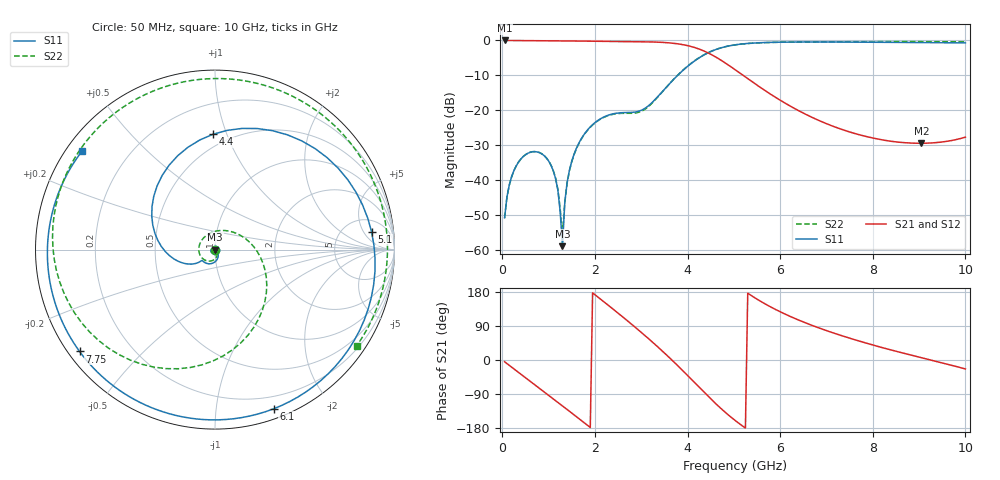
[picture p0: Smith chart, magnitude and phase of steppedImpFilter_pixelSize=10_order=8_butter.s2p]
! freq	dB(S11)	phase(S11)	dB(S12)	phase(S12)
!  dB(S21)	phase(S21)	dB(S22)	phase(S22)
!S-par simulation data
#  GHz  S  DB  R 50
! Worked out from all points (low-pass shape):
!   200 points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, 50 MHz to 10 GHz, reference 50 ohm
!   highest |S21| = -0.01 dB at 50 MHz (marker M1); lowest = -29.5 dB at 9.05 GHz (marker M2)
!   |S21| within 3 dB of the highest: start of sweep to 4.351 GHz
!   lowest |S11| = -58.9 dB at 1.3 GHz (marker M3), VSWR 1.00, Z = 50.1 + j0.0547 ohm
!   |S11| at or under -10 dB: start of sweep to 3.787 GHz
!   |S22| runs from -55.5 to -0.3 dB; largest |S21 - S12| = 0
!   S11 on the Smith chart (normalised r, x): 50 MHz: 1.00, -0.01; 4.4 GHz: 0.41, +0.90; 5.1 GHz: 9, +8; 6.1 GHz: 0.09, -1.43; 7.75 GHz: 0.03, -0.33; 10 GHz: 0.05, +0.33
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0.05  -50.80 -83.5  -0.01 -4.7  -0.01 -4.7  -50.81 -83.8
0.3  -35.96 -115.8  -0.04 -28.0  -0.04 -28.0  -35.97 -117.8
0.8  -32.13 -163.7  -0.09 -74.4  -0.09 -74.4  -32.11 -169.3
1.15  -39.53 161.4  -0.12 -107.0  -0.12 -107.0  -39.40 150.5
1.3  -58.93 28.9  -0.14 -121.1  -0.14 -121.1  -55.54 39.9
1.4  -40.68 -31.6  -0.15 -130.6  -0.15 -130.6  -40.86 -36.7
1.75  -27.24 -66.6  -0.19 -163.7  -0.19 -163.7  -27.35 -80.2
2.2  -21.89 -104.7  -0.26 153.0  -0.26 153.0  -21.99 -130.1
2.7  -20.66 -135.5  -0.33 103.7  -0.33 103.7  -20.88 161.6
3.05  -19.70 -141.1  -0.38 67.8  -0.38 67.8  -19.98 93.5
3.4  -15.48 -151.4  -0.52 29.9  -0.52 29.9  -15.56 26.9
3.85  -9.20 164.9  -1.10 -22.4  -1.10 -22.4  -9.14 -34.3
4.4  -3.84 90.9  -3.30 -90.4  -3.30 -90.4  -3.79 -96.4
4.7  -2.22 51.5  -5.48 -125.6  -5.48 -125.6  -2.20 -127.6
5.05  -1.22 11.6  -8.60 -161.7  -8.60 -161.7  -1.23 -159.9
5.1  -1.13 6.5  -9.07 -166.3  -9.07 -166.3  -1.15 -164.2
6.1  -0.49 -69.8  -17.91 121.5  -17.91 121.5  -0.50 125.7
6.7  -0.45 -100.8  -22.11 90.8  -22.11 90.8  -0.42 92.5
7.75  -0.50 -143.1  -27.16 48.4  -27.16 48.4  -0.36 43.7
8.35  -0.55 -163.7  -28.80 27.9  -28.80 27.9  -0.34 20.0
9.05  -0.61 173.7  -29.46 6.0  -29.46 6.0  -0.35 -4.7
10  -0.71 143.6  -27.70 -23.6  -27.70 -23.6  -0.41 -34.1
